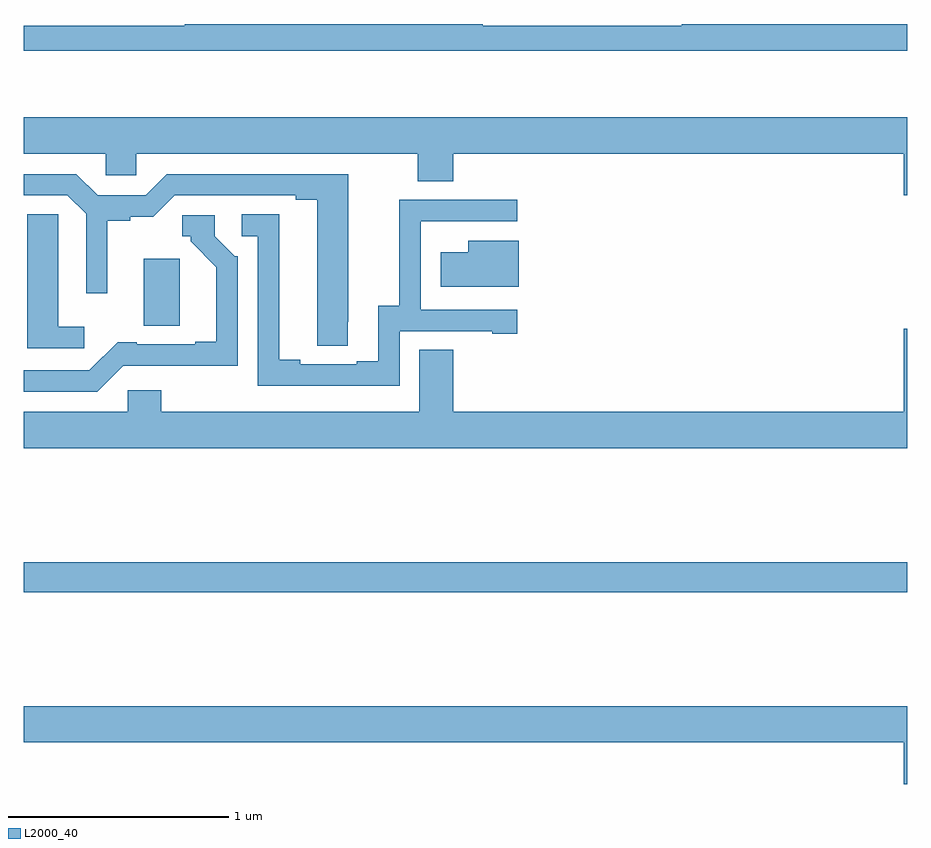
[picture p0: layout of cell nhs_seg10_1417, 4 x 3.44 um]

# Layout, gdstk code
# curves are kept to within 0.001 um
import gdstk
lib = gdstk.Library(unit=1e-6, precision=1e-09)
def R(c, l, rs):  # rectangles x0, y0, x1, y1
    for r in rs: c.add(gdstk.rectangle(r[:2], r[2:], *l))
def P(c, l, *ps):  # polygons
    for p in ps: c.add(gdstk.Polygon(p, *l))
L2000_40 = (2000, 40)

nhs_seg10_1417 = lib.new_cell('nhs_seg10_1417')
R(nhs_seg10_1417, L2000_40, [(185,1259.704,189,1259.84)])
P(nhs_seg10_1417, L2000_40, [(189,1262.275),(187.978,1262.275),(187.978,1262.267),(187.078,1262.267),(187.078,1262.275),(185.729,1262.275),(185.729,1262.267),(185,1262.267),(185,1262.154),(189,1262.154)],
  [(189,1261.852),(185,1261.852),(185,1261.688),(185.373,1261.688),(185.373,1261.59),(185.511,1261.59),(185.511,1261.688),(186.784,1261.688),(186.784,1261.564),(186.944,1261.564),(186.944,1261.688),(188.984,1261.688),(188.984,1261.5),(189,1261.5)],
  [(186.468,1260.928),(186.469,1261.596),(185.649,1261.596),(185.553,1261.5),(185.335,1261.5),(185.239,1261.596),(185,1261.596),(185,1261.5),(185.199,1261.5),(185.283,1261.416),(185.283,1261.056),(185.38,1261.056),(185.38,1261.384),(185.484,1261.384),(185.484,1261.403),(185.588,1261.403),(185.685,1261.5),(186.233,1261.5),(186.233,1261.48),(186.329,1261.48),(186.329,1260.82),(186.468,1260.82)],
  [(186.702,1260.885),(187.121,1260.885),(187.121,1260.873),(187.234,1260.873),(187.234,1260.981),(186.798,1260.981),(186.798,1261.382),(186.8,1261.382),(186.8,1261.383),(187.234,1261.383),(187.234,1261.479),(186.7,1261.479),(186.7,1261.001),(186.605,1261.001),(186.605,1260.75),(186.509,1260.75),(186.509,1260.735),(186.253,1260.735),(186.253,1260.755),(186.157,1260.755),(186.157,1261.415),(185.988,1261.415),(185.988,1261.314),(186.06,1261.314),(186.06,1260.639),(186.702,1260.639)],
  [(185.275,1260.904),(185.158,1260.904),(185.158,1261.307),(185.157,1261.307),(185.157,1261.415),(185.018,1261.415),(185.018,1260.807),(185.275,1260.807)],
  [(185.451,1260.729),(185.97,1260.728),(185.97,1261.224),(185.955,1261.224),(185.865,1261.314),(185.865,1261.41),(185.718,1261.41),(185.718,1261.314),(185.757,1261.314),(185.757,1261.291),(185.873,1261.174),(185.873,1260.838),(185.777,1260.838),(185.777,1260.825),(185.512,1260.825),(185.512,1260.836),(185.426,1260.836),(185.298,1260.708),(185,1260.708),(185,1260.612),(185.334,1260.612)],
  [(187.24,1261.294),(187.013,1261.294),(187.013,1261.243),(186.888,1261.243),(186.888,1261.085),(187.24,1261.085)],
  [(185.707,1261.213),(185.543,1261.213),(185.543,1261.068),(185.545,1261.068),(185.545,1260.91),(185.707,1260.91)],
  [(186.791,1260.8),(186.791,1260.52),(185.624,1260.52),(185.624,1260.618),(185.472,1260.618),(185.472,1260.52),(185,1260.52),(185,1260.356),(189,1260.356),(189,1260.895),(188.984,1260.895),(188.984,1260.52),(186.944,1260.52),(186.944,1260.8)],
  [(189,1259.188),(185,1259.188),(185,1259.024),(188.984,1259.024),(188.984,1258.836),(189,1258.836)])

lib.write_gds('nhs_seg10_1417.gds')
